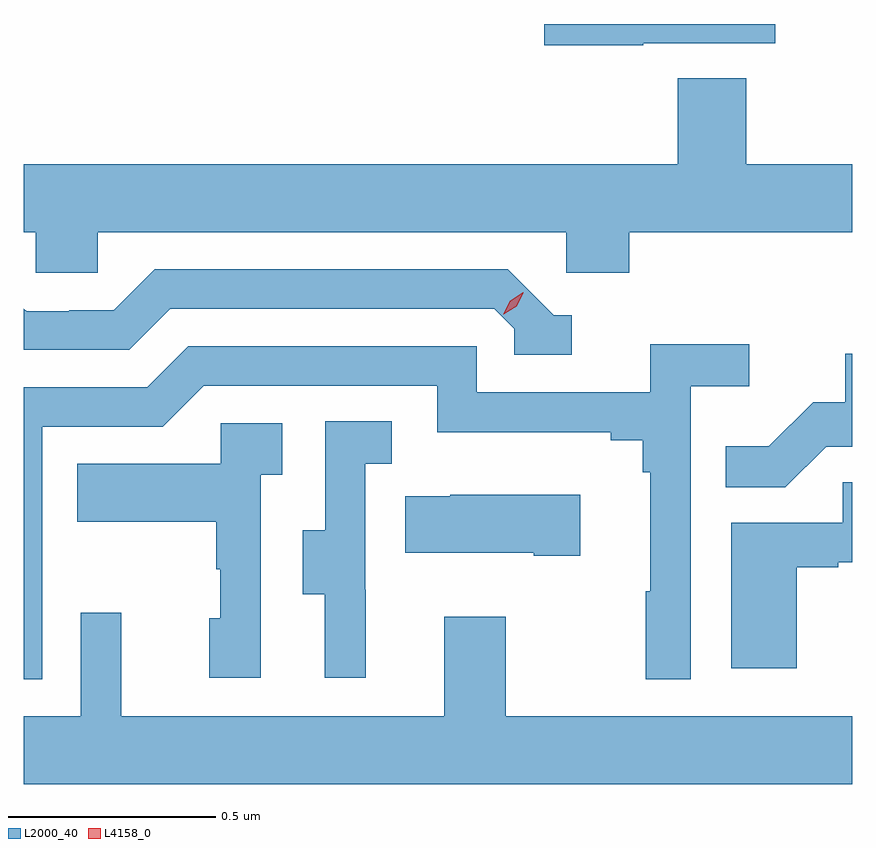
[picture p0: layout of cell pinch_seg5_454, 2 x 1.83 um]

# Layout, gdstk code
import gdstk
lib = gdstk.Library(unit=1e-6, precision=1e-09)
def P(c, l, *ps):  # polygons
    for p in ps: c.add(gdstk.Polygon(p, *l))
L2000_40 = (2000, 40)
L4158_0 = (4158, 0)

pinch_seg5_454 = lib.new_cell('pinch_seg5_454')
P(pinch_seg5_454, L2000_40, [(893.957,869.205),(894.276,869.205),(894.276,869.251),(893.719,869.251),(893.719,869.2),(893.957,869.2)],
  [(892.641,868.748),(893.772,868.748),(893.772,868.65),(893.924,868.65),(893.924,868.748),(894.462,868.748),(894.462,868.912),(894.206,868.912),(894.206,869.12),(894.041,869.12),(894.041,868.912),(892.462,868.912),(892.462,868.748),(892.491,868.748),(892.491,868.65),(892.641,868.65)],
  [(893.785,868.548),(893.742,868.548),(893.631,868.659),(892.778,868.659),(892.679,868.56),(892.572,868.56),(892.572,868.557),(892.469,868.557),(892.462,868.564),(892.462,868.464),(892.716,868.464),(892.815,868.563),(893.598,868.563),(893.646,868.515),(893.646,868.452),(893.785,868.452)],
  [(892.506,868.278),(892.797,868.278),(892.896,868.377),(893.46,868.377),(893.46,868.265),(893.879,868.265),(893.879,868.246),(893.956,868.246),(893.956,868.169),(893.975,868.169),(893.975,867.881),(893.964,867.881),(893.964,867.669),(894.072,867.669),(894.072,868.376),(894.214,868.376),(894.214,868.478),(893.975,868.478),(893.975,868.362),(893.556,868.362),(893.556,868.473),(892.859,868.473),(892.76,868.374),(892.462,868.374),(892.462,867.669),(892.506,867.669)],
  [(894.399,868.23),(894.462,868.23),(894.462,868.455),(894.445,868.455),(894.445,868.338),(894.368,868.338),(894.261,868.231),(894.157,868.231),(894.157,868.132),(894.301,868.132)],
  [(893.288,867.885),(893.286,867.885),(893.286,868.189),(893.35,868.189),(893.35,868.292),(893.19,868.292),(893.19,868.029),(893.135,868.029),(893.135,867.874),(893.189,867.874),(893.189,867.672),(893.288,867.672)],
  [(893.034,868.163),(893.086,868.163),(893.086,868.287),(892.938,868.287),(892.938,868.189),(892.591,868.189),(892.591,868.049),(892.926,868.049),(892.926,867.935),(892.936,867.935),(892.936,867.816),(892.91,867.816),(892.91,867.672),(893.034,867.672)],
  [(894.328,867.939),(894.428,867.939),(894.428,867.951),(894.462,867.951),(894.462,868.145),(894.439,868.145),(894.439,868.047),(894.17,868.047),(894.17,867.696),(894.328,867.696)],
  [(893.806,868.114),(893.491,868.114),(893.491,868.111),(893.383,868.111),(893.383,867.974),(893.693,867.974),(893.693,867.967),(893.806,867.967)],
  [(894.462,867.58),(893.625,867.58),(893.625,867.82),(893.477,867.82),(893.477,867.58),(892.697,867.58),(892.697,867.829),(892.599,867.829),(892.599,867.58),(892.462,867.58),(892.462,867.416),(894.462,867.416)])
P(pinch_seg5_454, L4158_0, [(893.62,868.55),(893.62,868.55),(893.637,868.583),(893.668,868.603),(893.668,868.603),(893.668,868.602),(893.652,868.57),(893.621,868.55)])

lib.write_gds('pinch_seg5_454.gds')
